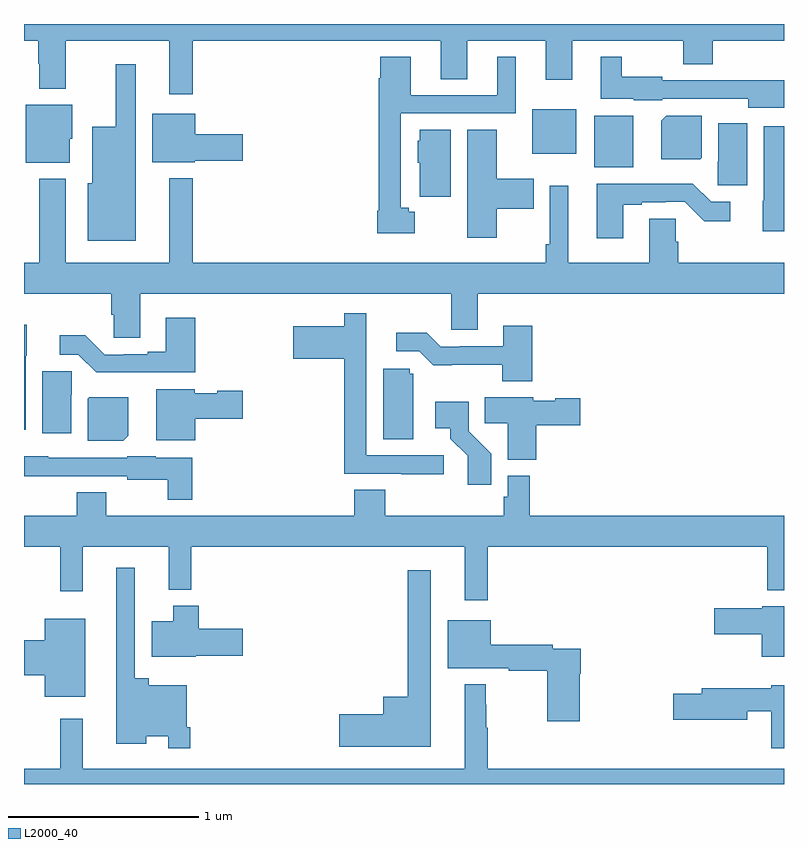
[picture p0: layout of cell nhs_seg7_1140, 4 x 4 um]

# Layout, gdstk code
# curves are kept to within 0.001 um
import gdstk
lib = gdstk.Library(unit=1e-6, precision=1e-09)
def R(c, l, rs):  # rectangles x0, y0, x1, y1
    for r in rs: c.add(gdstk.rectangle(r[:2], r[2:], *l))
def P(c, l, *ps):  # polygons
    for p in ps: c.add(gdstk.Polygon(p, *l))
L2000_40 = (2000, 40)

nhs_seg7_1140 = lib.new_cell('nhs_seg7_1140')
R(nhs_seg7_1140, L2000_40, [(194,1037.246,194.206,1037.516), (193.676,1037.318,193.906,1037.551)])
P(nhs_seg7_1140, L2000_40, [(191.887,1037.912),(193.193,1037.912),(193.193,1037.71),(193.333,1037.71),(193.333,1037.912),(193.745,1037.912),(193.745,1037.706),(193.885,1037.706),(193.885,1037.912),(194.47,1037.912),(194.47,1037.788),(194.625,1037.788),(194.625,1037.912),(195,1037.912),(195,1038),(191,1038),(191,1037.912),(191.074,1037.912),(191.074,1037.792),(191.081,1037.792),(191.081,1037.66),(191.221,1037.66),(191.221,1037.912),(191.765,1037.912),(191.765,1037.631),(191.887,1037.631)],
  [(193.057,1037.012),(193.026,1037.012),(193.026,1037.033),(192.984,1037.033),(192.984,1037.529),(193.588,1037.529),(193.588,1037.827),(193.49,1037.827),(193.49,1037.625),(193.036,1037.625),(193.036,1037.827),(192.875,1037.827),(192.875,1037.714),(192.868,1037.714),(192.868,1037.016),(192.86,1037.016),(192.86,1036.898),(193.057,1036.898)],
  [(195,1037.704),(194.875,1037.704),(194.875,1037.703),(194.358,1037.703),(194.358,1037.722),(194.146,1037.722),(194.146,1037.827),(194.036,1037.827),(194.036,1037.606),(194.208,1037.606),(194.208,1037.6),(194.358,1037.6),(194.358,1037.607),(194.813,1037.607),(194.813,1037.558),(195,1037.558)],
  [(191.587,1037.788),(191.483,1037.788),(191.483,1037.458),(191.36,1037.458),(191.36,1037.163),(191.336,1037.163),(191.336,1036.859),(191.587,1036.859)],
  [(191.242,1037.397),(191.254,1037.397),(191.254,1037.575),(191.009,1037.575),(191.009,1037.27),(191.242,1037.27)],
  [(191.898,1037.279),(192.151,1037.279),(192.151,1037.421),(191.902,1037.421),(191.902,1037.527),(191.675,1037.527),(191.675,1037.273),(191.898,1037.273)],
  [(194.566,1037.296),(194.566,1037.518),(194.38,1037.518),(194.354,1037.492),(194.354,1037.288),(194.558,1037.288)],
  [(194.806,1037.477),(194.654,1037.477),(194.654,1037.274),(194.65,1037.274),(194.65,1037.151),(194.806,1037.151)],
  [(195,1037.461),(194.894,1037.461),(194.894,1037.07),(194.888,1037.07),(194.888,1036.908),(195,1036.908)],
  [(193.489,1037.027),(193.682,1037.027),(193.682,1037.185),(193.489,1037.185),(193.489,1037.444),(193.334,1037.444),(193.334,1036.875),(193.489,1036.875)],
  [(193.246,1037.444),(193.082,1037.444),(193.082,1037.385),(193.073,1037.385),(193.073,1037.271),(193.083,1037.271),(193.083,1037.091),(193.246,1037.091)],
  [(191.611,1036.58),(193.248,1036.58),(193.248,1036.39),(193.387,1036.39),(193.387,1036.58),(195,1036.58),(195,1036.744),(194.444,1036.744),(194.444,1036.854),(194.43,1036.854),(194.43,1036.976),(194.291,1036.976),(194.291,1036.744),(193.864,1036.744),(193.864,1037.149),(193.767,1037.149),(193.767,1036.84),(193.747,1036.84),(193.747,1036.744),(191.887,1036.744),(191.887,1037.188),(191.765,1037.188),(191.765,1036.744),(191.221,1036.744),(191.221,1037.185),(191.081,1037.185),(191.081,1036.744),(191,1036.744),(191,1036.58),(191.459,1036.58),(191.459,1036.47),(191.472,1036.47),(191.472,1036.348),(191.611,1036.348)],
  [(194.155,1037.049),(194.251,1037.049),(194.251,1037.061),(194.378,1037.061),(194.378,1037.064),(194.478,1037.064),(194.581,1036.962),(194.716,1036.962),(194.716,1037.064),(194.616,1037.064),(194.521,1037.159),(194.015,1037.159),(194.015,1036.872),(194.155,1036.872)],
  [(193.21,1035.729),(192.801,1035.729),(192.801,1036.254),(192.802,1036.254),(192.802,1036.477),(192.685,1036.477),(192.685,1036.408),(192.417,1036.408),(192.417,1036.238),(192.685,1036.238),(192.685,1035.633),(192.985,1035.633),(192.985,1035.631),(193.21,1035.631)],
  [(191.9,1036.453),(191.747,1036.453),(191.747,1036.276),(191.651,1036.276),(191.651,1036.263),(191.524,1036.263),(191.524,1036.26),(191.424,1036.26),(191.322,1036.363),(191.187,1036.363),(191.187,1036.26),(191.286,1036.26),(191.381,1036.166),(191.9,1036.166)],
  [(191.008,1036.254),(191.014,1036.254),(191.014,1036.417),(191,1036.417),(191,1035.864),(191.008,1035.864)],
  [(193.676,1036.411),(193.523,1036.411),(193.523,1036.305),(193.294,1036.305),(193.294,1036.302),(193.194,1036.302),(193.121,1036.375),(192.96,1036.375),(192.96,1036.278),(193.08,1036.278),(193.153,1036.205),(193.516,1036.206),(193.516,1036.121),(193.676,1036.121)],
  [(193.048,1036.158),(193.029,1036.158),(193.029,1036.185),(192.89,1036.185),(192.89,1035.814),(193.048,1035.814)],
  [(191.248,1036.05),(191.252,1036.05),(191.252,1036.173),(191.096,1036.173),(191.096,1035.846),(191.248,1035.846)],
  [(191.902,1035.923),(192.151,1035.923),(192.151,1036.07),(192.018,1036.07),(192.018,1036.057),(191.898,1036.057),(191.898,1036.078),(191.696,1036.078),(191.696,1035.809),(191.902,1035.809)],
  [(191.548,1035.832),(191.548,1036.036),(191.344,1036.036),(191.336,1036.028),(191.336,1035.806),(191.522,1035.806)],
  [(193.697,1035.889),(193.927,1035.889),(193.927,1036.031),(193.797,1036.031),(193.797,1036.018),(193.68,1036.018),(193.68,1036.036),(193.426,1036.036),(193.426,1035.898),(193.547,1035.898),(193.547,1035.707),(193.697,1035.707)],
  [(193.46,1035.738),(193.341,1035.857),(193.341,1036.012),(193.164,1036.012),(193.164,1035.872),(193.244,1035.872),(193.244,1035.817),(193.335,1035.727),(193.335,1035.576),(193.46,1035.576)],
  [(191.885,1035.718),(191.694,1035.718),(191.694,1035.724),(191.544,1035.724),(191.544,1035.717),(191.127,1035.717),(191.127,1035.724),(191,1035.724),(191,1035.62),(191.127,1035.62),(191.127,1035.621),(191.544,1035.621),(191.544,1035.602),(191.757,1035.602),(191.757,1035.497),(191.885,1035.497)],
  [(193.441,1035.248),(194.911,1035.248),(194.911,1035.02),(195,1035.02),(195,1035.412),(193.661,1035.412),(193.661,1035.622),(193.545,1035.622),(193.545,1035.513),(193.525,1035.513),(193.525,1035.412),(192.902,1035.412),(192.902,1035.548),(192.737,1035.548),(192.737,1035.412),(191.433,1035.412),(191.433,1035.536),(191.278,1035.536),(191.278,1035.412),(191,1035.412),(191,1035.248),(191.191,1035.248),(191.191,1035.015),(191.309,1035.015),(191.309,1035.248),(191.762,1035.248),(191.762,1035.023),(191.879,1035.023),(191.879,1035.248),(193.319,1035.248),(193.319,1034.967),(193.441,1034.967)],
  [(191.876,1034.299),(191.856,1034.299),(191.856,1034.521),(191.657,1034.521),(191.657,1034.557),(191.583,1034.557),(191.583,1035.139),(191.486,1035.139),(191.486,1034.213),(191.644,1034.213),(191.644,1034.252),(191.76,1034.252),(191.76,1034.187),(191.876,1034.187)],
  [(193.141,1035.124),(193.02,1035.124),(193.02,1034.458),(192.89,1034.458),(192.89,1034.366),(192.66,1034.366),(192.66,1034.195),(193.141,1034.195)],
  [(191.904,1034.675),(192.151,1034.675),(192.151,1034.817),(191.921,1034.817),(191.921,1034.938),(191.786,1034.938),(191.786,1034.857),(191.672,1034.857),(191.672,1034.669),(191.904,1034.669)],
  [(195,1034.935),(194.886,1034.935),(194.886,1034.925),(194.634,1034.925),(194.634,1034.788),(194.882,1034.788),(194.882,1034.669),(195,1034.669)],
  [(191.323,1034.869),(191.108,1034.869),(191.108,1034.756),(191,1034.756),(191,1034.573),(191.108,1034.573),(191.108,1034.459),(191.323,1034.459)],
  [(193.926,1034.579),(193.931,1034.579),(193.931,1034.712),(193.784,1034.712),(193.784,1034.732),(193.456,1034.732),(193.456,1034.863),(193.229,1034.863),(193.229,1034.609),(193.552,1034.609),(193.552,1034.596),(193.753,1034.596),(193.753,1034.331),(193.926,1034.331)],
  [(195,1034.08),(193.441,1034.08),(193.441,1034.297),(193.433,1034.297),(193.433,1034.417),(193.43,1034.417),(193.43,1034.524),(193.319,1034.524),(193.319,1034.08),(191.308,1034.08),(191.308,1034.344),(191.191,1034.344),(191.191,1034.08),(191,1034.08),(191,1034),(195,1034)],
  [(195,1034.521),(194.933,1034.521),(194.933,1034.503),(194.567,1034.503),(194.567,1034.474),(194.418,1034.474),(194.418,1034.339),(194.806,1034.339),(194.806,1034.382),(194.934,1034.382),(194.934,1034.187),(195,1034.187)])

lib.write_gds('nhs_seg7_1140.gds')
